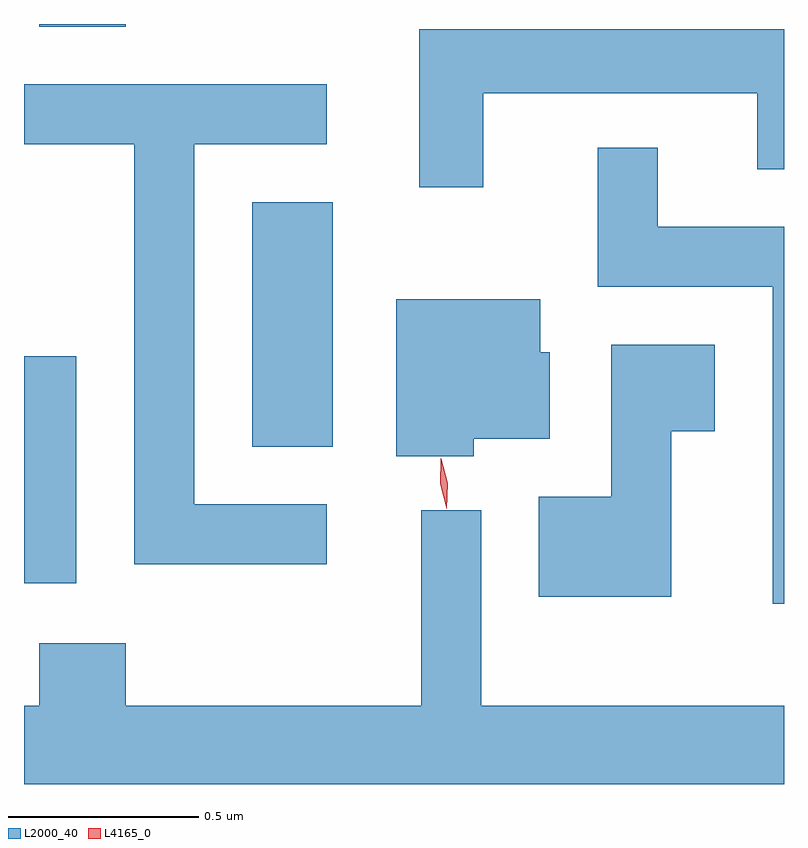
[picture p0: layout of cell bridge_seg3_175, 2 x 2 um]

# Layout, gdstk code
import gdstk
lib = gdstk.Library(unit=1e-6, precision=1e-09)
def R(c, l, rs):  # rectangles x0, y0, x1, y1
    for r in rs: c.add(gdstk.rectangle(r[:2], r[2:], *l))
def P(c, l, *ps):  # polygons
    for p in ps: c.add(gdstk.Polygon(p, *l))
L2000_40 = (2000, 40)
L4165_0 = (4165, 0)

bridge_seg3_175 = lib.new_cell('bridge_seg3_175')
R(bridge_seg3_175, L2000_40, [(861.071,1219.846,861.209,1220.444), (861.671,1220.206,861.884,1220.849), (861.111,1221.311,861.339,1221.318)])
P(bridge_seg3_175, L2000_40, [(862.279,1221.136),(863.001,1221.136),(863.001,1220.936),(863.071,1220.936),(863.071,1221.304),(862.111,1221.304),(862.111,1220.888),(862.279,1220.888)],
  [(861.868,1220.054),(861.519,1220.054),(861.519,1221.001),(861.868,1221.001),(861.868,1221.159),(861.071,1221.159),(861.071,1221.001),(861.361,1221.001),(861.361,1219.896),(861.868,1219.896)],
  [(863.071,1220.784),(862.739,1220.784),(862.739,1220.993),(862.581,1220.993),(862.581,1220.626),(863.041,1220.626),(863.041,1219.793),(863.071,1219.793)],
  [(862.254,1220.226),(862.454,1220.226),(862.454,1220.454),(862.429,1220.454),(862.429,1220.594),(862.051,1220.594),(862.051,1220.181),(862.254,1220.181)],
  [(862.774,1220.246),(862.889,1220.246),(862.889,1220.474),(862.616,1220.474),(862.616,1220.074),(862.426,1220.074),(862.426,1219.811),(862.774,1219.811)],
  [(862.116,1220.038),(862.116,1219.524),(861.339,1219.524),(861.339,1219.689),(861.111,1219.689),(861.111,1219.524),(861.071,1219.524),(861.071,1219.318),(863.071,1219.318),(863.071,1219.524),(862.274,1219.524),(862.274,1220.038)])
P(bridge_seg3_175, L4165_0, [(862.184,1220.042),(862.183,1220.043),(862.166,1220.108),(862.168,1220.174),(862.168,1220.175),(862.169,1220.174),(862.186,1220.11),(862.184,1220.043)])

lib.write_gds('bridge_seg3_175.gds')
